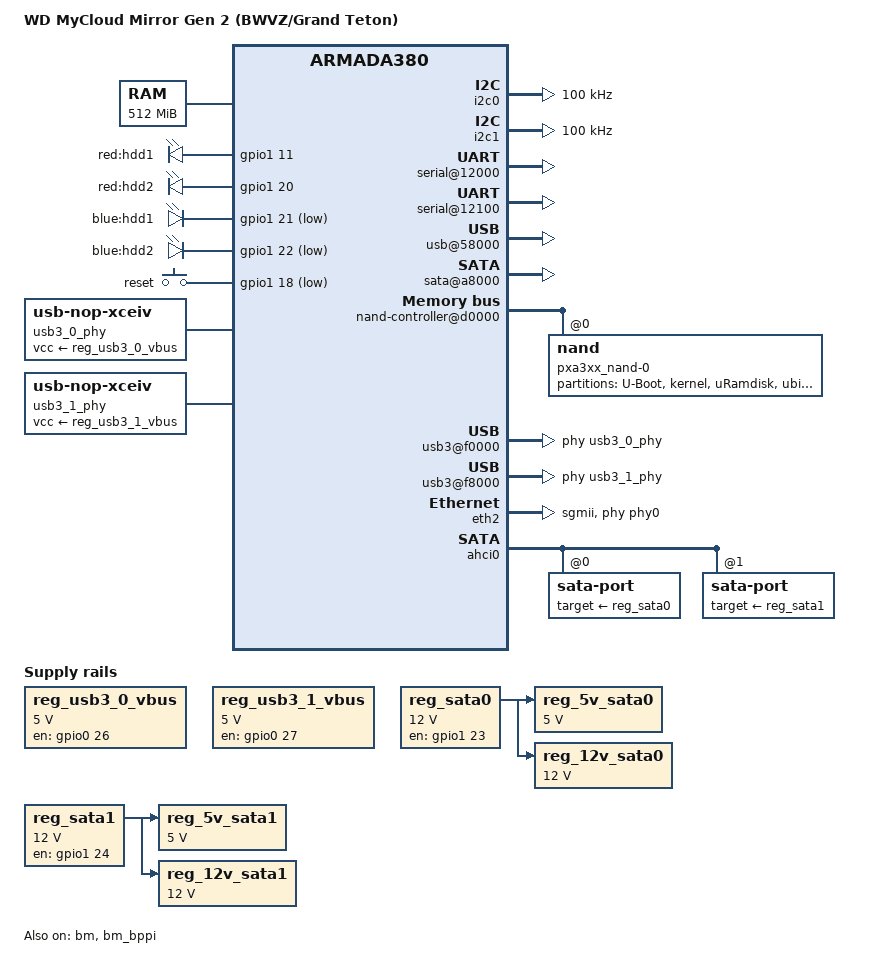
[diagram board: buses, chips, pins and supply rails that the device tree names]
// SPDX-License-Identifier: (GPL-2.0+ OR MIT)
/*
 * Device Tree file for Western Digital My Cloud Mirror Gen 2
 * (BWVZ/Grand Teton)
 *
 * Copyright (C) 2020
 *
 * Based on the code from:
 *
 * Copyright (C) 2019 Evgeny Kolesnikov <evgenyz@gmail.com>
 * Copyright (C) 2016 Martin Mueller <mm@sig21.net>
 * Copyright (C) 2013 Gregory CLEMENT <gregory.clement@free-electrons.com>
 * Copyright (C) 2014 Thomas Petazzoni <thomas.petazzoni@free-electrons.com>
 *
 */

/dts-v1/;
#include <dt-bindings/input/input.h>
#include <dt-bindings/gpio/gpio.h>
#include <dt-bindings/leds/common.h>
#include "armada-385.dtsi"

/ {
	model = "WD MyCloud Mirror Gen 2 (BWVZ/Grand Teton)";
	compatible = "wd,cloud-mirror-gen2", "marvell,armada385", "marvell,armada380";

	aliases {
		led-boot = &led_boot;
		led-failsafe = &led_boot;
		led-upgrade = &led_boot;
	};

	chosen {
		stdout-path = "serial0:115200n8";
		append-rootblock = "nullparameter="; /* override the bootloader args */
	};

	memory {
		device_type = "memory";
		reg = <0x00000000 0x20000000>; /* 512 MB */
	};

	soc {
		ranges = <MBUS_ID(0xf0, 0x01) 0 0xf1000000 0x100000
		          MBUS_ID(0x01, 0x1d) 0 0xfff00000 0x100000
		          MBUS_ID(0x09, 0x19) 0 0xf1100000 0x10000
		          MBUS_ID(0x09, 0x15) 0 0xf1110000 0x10000
		          MBUS_ID(0x0c, 0x04) 0 0xf1200000 0x100000>;

		internal-regs {
			timer@c200 {
				status = "okay";
			};

			i2c0: i2c@11000 {
				status = "okay";
				clock-frequency = <100000>;
			};

			i2c1: i2c@11100 {
				status = "okay";
				clock-frequency = <100000>;
			};

			serial@12000 {
				status = "okay";
			};

			/* Connected to Welltrend 6703F-OG240WT MCU
			 * which controls power, fan and other things
			 */
			serial@12100 {
				status = "okay";
			};

			pinctrl@18000 {
				/* use only one pin for UART1, as mpp20 is used by sata0 */
				uart1_pins: uart-pins-1 {
					marvell,pins = "mpp19";
					marvell,function = "ua1";
				};

				xhci0_vbus_pins: xhci0-vbus-pins {
					marvell,pins = "mpp26";
					marvell,function = "gpio";
				};

				xhci1_vbus_pins: xhci1-vbus-pins {
					marvell,pins = "mpp27";
					marvell,function = "gpio";
				};

				sata0_pins: sata-pins-0 {
					marvell,pins = "mpp55";
					marvell,function = "sata0";
				};

				sata1_pins: sata-pins-1 {
					marvell,pins = "mpp56";
					marvell,function = "sata1";
				};

				sata_leds: sata-leds {
					marvell,pins = "mpp43", "mpp52", "mpp53", "mpp54";
					marvell,function = "gpio";
				};

				btn_pins: btn-pins {
					marvell,pins = "mpp50";
					marvell,function = "gpio";
				};
			};

			usb@58000 {
				status = "okay";
			};

			phy: mdio@72004 {
				phy0: ethernet-phy@0 {
					/* Init ETH LEDs */
					marvell,reg-init = <3 16 0 0x101e>;
					reg = <0>;
				};
			};

			sata@a8000 {
				status = "okay";
			};

			nand-controller@d0000 {
				status = "okay";

				nand: nand@0 {
					reg = <0>;
					label = "pxa3xx_nand-0";
					nand-rb = <0>;
					marvell,nand-keep-config;
					#marvell,nand-enable-arbiter; //optional
					nand-on-flash-bbt;
					nand-ecc-strength = <4>;
					nand-ecc-step-size = <512>;

					partitions {
						compatible = "fixed-partitions";
						#address-cells = <1>;
						#size-cells = <1>;

						partition@00000000 {
							label = "U-Boot";
							reg = <0x00000000 0x00500000>;    /*   5 MB */
							read-only;
						};

						partition@00500000 {
							label = "kernel";
							reg = <0x00500000 0x00500000>;    /*   5 MB */
						};

						partition@00a00000 {
							label = "uRamdisk";
							reg = <0x00a00000 0x00500000>;    /*   5 MB */
							read-only;
						};

						partition@00f00000 {
							label = "ubi";
							reg = <0x00f00000 0x0b900000>;    /* 185 MB */
						};

						partition@c800000 {
							label = "rescue fw";
							reg = <0x0c800000 0x00f00000>;    /*  15 MB */
							read-only;
						};

						partition@d70000 {
							label = "config";
							reg = <0x0d700000 0x01400000>;    /*  20 MB */
							read-only;
						};

						partition@eb00000 {
							label = "reserve1";
							reg = <0x0eb00000 0x00a00000>;    /*  10 MB */
							read-only;
						};

						partition@f500000 {
							label = "reserve2";
							reg = <0x0f500000 0x00a00000>;    /*  10 MB */
							read-only;
						};
					};
				};
			};

			usb3@f0000 {
				usb-phy = <&usb3_0_phy>;
				status = "okay";
			};

			usb3@f8000 {
				usb-phy = <&usb3_1_phy>;
				status = "okay";
			};
		};
	};

	gpio-leds {
		compatible = "gpio-leds";
		pinctrl-names = "default";
		pinctrl-0 = <&sata_leds>;

		led_boot: s1red {
			label = "red:hdd1";
			gpios = <&gpio1 11 GPIO_ACTIVE_HIGH>;
		};
		s2red {
			label = "red:hdd2";
			gpios = <&gpio1 20 GPIO_ACTIVE_HIGH>;
		};
		s1blue {
			label = "blue:hdd1";
			gpios = <&gpio1 21 GPIO_ACTIVE_LOW>;
			linux,default-trigger = "ata1";
		};
		s2blue {
			label = "blue:hdd2";
			gpios = <&gpio1 22 GPIO_ACTIVE_LOW>;
			linux,default-trigger = "ata2";
		};
	};

	gpio-keys {
		compatible = "gpio-keys";
		pinctrl-names = "default";
		pinctrl-0 = <&btn_pins>;

		reset {
			label = "reset";
			linux,code = <KEY_RESTART>;  // Restart=0x198, Power=0x116
			gpios = <&gpio1 18 GPIO_ACTIVE_LOW>;
			debounce-interval = <60>;
			wakeup-source;
		};
	};

	usb3_0_phy: usb3_0_phy {
		compatible = "usb-nop-xceiv";
		vcc-supply = <&reg_usb3_0_vbus>;
	};

	usb3_1_phy: usb3_1_phy {
		compatible = "usb-nop-xceiv";
		vcc-supply = <&reg_usb3_1_vbus>;
	};

	reg_usb3_0_vbus: usb3-vbus0 {
		compatible = "regulator-fixed";
		regulator-name = "usb3-vbus0";
		pinctrl-names = "default";
		pinctrl-0 = <&xhci0_vbus_pins>;
		regulator-min-microvolt = <5000000>;
		regulator-max-microvolt = <5000000>;
		enable-active-high;
		regulator-always-on;
		gpio = <&gpio0 26 GPIO_ACTIVE_HIGH>;
	};

	reg_usb3_1_vbus: usb3-vbus1 {
		compatible = "regulator-fixed";
		regulator-name = "usb3-vbus1";
		pinctrl-names = "default";
		pinctrl-0 = <&xhci1_vbus_pins>;
		regulator-min-microvolt = <5000000>;
		regulator-max-microvolt = <5000000>;
		enable-active-high;
		regulator-always-on;
		gpio = <&gpio0 27 GPIO_ACTIVE_HIGH>;
	};

	reg_sata0: pwr-sata0 {
		compatible = "regulator-fixed";
		regulator-name = "pwr_en_sata0";
		regulator-min-microvolt = <12000000>;
		regulator-max-microvolt = <12000000>;
		enable-active-high;
		regulator-boot-on;
		gpio = <&gpio1 23 GPIO_ACTIVE_HIGH>;
	};

	reg_5v_sata0: v5-sata0 {
		compatible = "regulator-fixed";
		regulator-name = "v5.0-sata0";
		regulator-min-microvolt = <5000000>;
		regulator-max-microvolt = <5000000>;
		vin-supply = <&reg_sata0>;
	};

	reg_12v_sata0: v12-sata0 {
		compatible = "regulator-fixed";
		regulator-name = "v12.0-sata0";
		regulator-min-microvolt = <12000000>;
		regulator-max-microvolt = <12000000>;
		vin-supply = <&reg_sata0>;
	};

	reg_sata1: pwr-sata1 {
		compatible = "regulator-fixed";
		regulator-name = "pwr_en_sata1";
		regulator-min-microvolt = <12000000>;
		regulator-max-microvolt = <12000000>;
		enable-active-high;
		regulator-boot-on;
		gpio = <&gpio1 24 GPIO_ACTIVE_HIGH>;
	};

	reg_5v_sata1: v5-sata1 {
		compatible = "regulator-fixed";
		regulator-name = "v5.0-sata1";
		regulator-min-microvolt = <5000000>;
		regulator-max-microvolt = <5000000>;
		vin-supply = <&reg_sata1>;
	};

	reg_12v_sata1: v12-sata1 {
		compatible = "regulator-fixed";
		regulator-name = "v12.0-sata1";
		regulator-min-microvolt = <12000000>;
		regulator-max-microvolt = <12000000>;
		vin-supply = <&reg_sata1>;
	};
};

&bm {
	status = "okay";
};

&bm_bppi {
	status = "okay";
};

&eth2 {
	status = "okay";
	phy = <&phy0>;
	phy-mode = "sgmii";
	buffer-manager = <&bm>;
	bm,pool-long = <0>;
	bm,pool-short = <1>;
};

&ahci0 {
	status = "okay";
	#address-cells = <1>;
	#size-cells = <0>;

	sata-port@0 {
		reg = <0>;
		target-supply = <&reg_sata0>;
		#thermal-sensor-cells = <0>;
	};

	sata-port@1 {
		reg = <1>;
		target-supply = <&reg_sata1>;
		#thermal-sensor-cells = <1>;
	};
};
